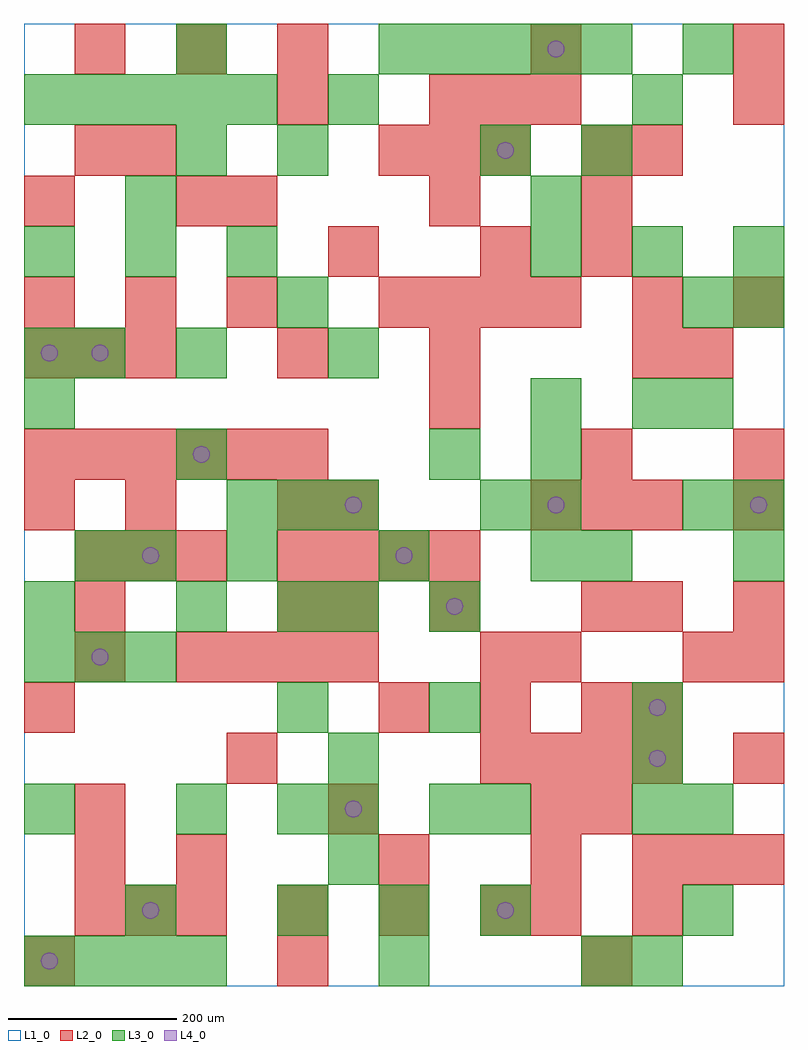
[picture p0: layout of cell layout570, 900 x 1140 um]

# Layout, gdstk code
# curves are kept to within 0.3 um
import gdstk
lib = gdstk.Library(unit=1e-6, precision=1e-09)
def R(c, l, rs):  # rectangles x0, y0, x1, y1
    for r in rs: c.add(gdstk.rectangle(r[:2], r[2:], *l))
def A(c, l, x, y, w, h, nx, ny, dx, dy):  # array of equal rectangles
    R(c, l, [(x+i*dx, y+j*dy, x+i*dx+w, y+j*dy+h) for i in range(nx) for j in range(ny)])
def P(c, l, *ps):  # polygons
    for p in ps: c.add(gdstk.Polygon(p, *l))
L1_0 = (1, 0)
L2_0 = (2, 0)
L3_0 = (3, 0)
L4_0 = (4, 0)

layout570 = lib.new_cell('layout570')
R(layout570, L1_0, [(0,0,900,1140)])
A(layout570, L2_0, 60, 60, 60, 60, 3, 2, 60, 420)
A(layout570, L2_0, 300, 60, 60, 60, 3, 1, 120, 0)
A(layout570, L2_0, 600, 60, 60, 60, 1, 3, 0, 60)
A(layout570, L2_0, 720, 120, 60, 60, 3, 1, 60, 0)
A(layout570, L2_0, 540, 240, 60, 60, 4, 1, 60, 0)
A(layout570, L2_0, 420, 300, 60, 60, 3, 1, 120, 0)
A(layout570, L2_0, 180, 360, 60, 60, 4, 1, 60, 0)
A(layout570, L2_0, 300, 480, 60, 60, 4, 1, 60, 0)
A(layout570, L2_0, 600, 540, 60, 60, 3, 1, 60, 0)
A(layout570, L2_0, 0, 600, 60, 60, 6, 1, 60, 0)
A(layout570, L2_0, 0, 720, 60, 60, 3, 1, 60, 0)
A(layout570, L2_0, 0, 780, 60, 60, 3, 1, 120, 0)
A(layout570, L2_0, 420, 780, 60, 60, 4, 1, 60, 0)
A(layout570, L2_0, 660, 840, 60, 60, 1, 3, 0, 60)
A(layout570, L2_0, 420, 960, 60, 60, 3, 1, 60, 0)
A(layout570, L2_0, 480, 1020, 60, 60, 3, 1, 60, 0)
A(layout570, L2_0, 60, 1080, 60, 60, 3, 1, 120, 0)
R(layout570, L2_0, [(0,0,60,60), (300,0,360,60), (660,0,720,60), (720,60,780,120), (60,120,120,180), (180,120,240,180), (420,120,480,180), (60,180,120,240), (360,180,420,240), (660,180,720,240), (240,240,300,300), (840,240,900,300), (0,300,60,360), (720,300,780,360), (60,360,120,420), (540,360,600,420), (600,360,660,420), (780,360,840,420), (840,360,900,420), (60,420,120,480), (300,420,360,480), (360,420,420,480), (480,420,540,480), (660,420,720,480), (720,420,780,480), (840,420,900,480), (0,540,60,600), (120,540,180,600), (300,540,360,600), (360,540,420,600), (840,540,900,600), (660,600,720,660), (840,600,900,660), (480,660,540,720), (300,720,360,780), (480,720,540,780), (720,720,780,780), (780,720,840,780), (720,780,780,840), (840,780,900,840), (360,840,420,900), (540,840,600,900), (0,900,60,960), (180,900,240,960), (240,900,300,960), (480,900,540,960), (60,960,120,1020), (120,960,180,1020), (720,960,780,1020), (300,1020,360,1080), (840,1020,900,1080), (600,1080,660,1140), (840,1080,900,1140)])
A(layout570, L3_0, 0, 0, 60, 60, 4, 1, 60, 0)
A(layout570, L3_0, 660, 0, 60, 60, 1, 3, 0, 480)
A(layout570, L3_0, 120, 60, 60, 60, 1, 3, 0, 420)
A(layout570, L3_0, 300, 60, 60, 60, 3, 1, 120, 0)
A(layout570, L3_0, 360, 120, 60, 60, 1, 3, 0, 60)
A(layout570, L3_0, 0, 180, 60, 60, 1, 3, 0, 240)
A(layout570, L3_0, 300, 180, 60, 60, 1, 3, 0, 120)
A(layout570, L3_0, 480, 180, 60, 60, 1, 3, 0, 120)
A(layout570, L3_0, 720, 180, 60, 60, 1, 3, 0, 60)
A(layout570, L3_0, 0, 360, 60, 60, 3, 1, 60, 0)
A(layout570, L3_0, 360, 420, 60, 60, 1, 3, 0, 300)
A(layout570, L3_0, 240, 480, 60, 60, 3, 1, 180, 0)
A(layout570, L3_0, 240, 540, 60, 60, 3, 1, 60, 0)
A(layout570, L3_0, 600, 540, 60, 60, 1, 3, 0, 60)
A(layout570, L3_0, 780, 540, 60, 60, 1, 3, 0, 120)
A(layout570, L3_0, 0, 840, 60, 60, 3, 1, 120, 0)
A(layout570, L3_0, 600, 840, 60, 60, 3, 1, 120, 0)
A(layout570, L3_0, 0, 1020, 60, 60, 5, 1, 60, 0)
A(layout570, L3_0, 420, 1080, 60, 60, 5, 1, 60, 0)
R(layout570, L3_0, [(420,0,480,60), (720,0,780,60), (780,60,840,120), (180,180,240,240), (540,180,600,240), (780,180,840,240), (180,420,240,480), (60,480,120,540), (840,480,900,540), (540,540,600,600), (840,540,900,600), (180,600,240,660), (480,600,540,660), (720,660,780,720), (0,720,60,780), (60,720,120,780), (180,720,240,780), (300,780,360,840), (840,780,900,840), (600,900,660,960), (180,960,240,1020), (300,960,360,1020), (540,960,600,1020), (720,1020,780,1080), (180,1080,240,1140), (780,1080,840,1140)])
P(layout570, L4_0, [(40,30),(39.239,33.827),(37.071,37.071),(33.827,39.239),(30,40),(26.173,39.239),(22.929,37.071),(20.761,33.827),(20,30),(20.761,26.173),(22.929,22.929),(26.173,20.761),(30,20),(33.827,20.761),(37.071,22.929),(39.239,26.173)],
  [(40,750),(39.239,753.827),(37.071,757.071),(33.827,759.239),(30,760),(26.173,759.239),(22.929,757.071),(20.761,753.827),(20,750),(20.761,746.173),(22.929,742.929),(26.173,740.761),(30,740),(33.827,740.761),(37.071,742.929),(39.239,746.173)],
  [(100,390),(99.239,393.827),(97.071,397.071),(93.827,399.239),(90,400),(86.173,399.239),(82.929,397.071),(80.761,393.827),(80,390),(80.761,386.173),(82.929,382.929),(86.173,380.761),(90,380),(93.827,380.761),(97.071,382.929),(99.239,386.173)],
  [(100,750),(99.239,753.827),(97.071,757.071),(93.827,759.239),(90,760),(86.173,759.239),(82.929,757.071),(80.761,753.827),(80,750),(80.761,746.173),(82.929,742.929),(86.173,740.761),(90,740),(93.827,740.761),(97.071,742.929),(99.239,746.173)],
  [(160,90),(159.239,93.827),(157.071,97.071),(153.827,99.239),(150,100),(146.173,99.239),(142.929,97.071),(140.761,93.827),(140,90),(140.761,86.173),(142.929,82.929),(146.173,80.761),(150,80),(153.827,80.761),(157.071,82.929),(159.239,86.173)],
  [(160,510),(159.239,513.827),(157.071,517.071),(153.827,519.239),(150,520),(146.173,519.239),(142.929,517.071),(140.761,513.827),(140,510),(140.761,506.173),(142.929,502.929),(146.173,500.761),(150,500),(153.827,500.761),(157.071,502.929),(159.239,506.173)],
  [(220,630),(219.239,633.827),(217.071,637.071),(213.827,639.239),(210,640),(206.173,639.239),(202.929,637.071),(200.761,633.827),(200,630),(200.761,626.173),(202.929,622.929),(206.173,620.761),(210,620),(213.827,620.761),(217.071,622.929),(219.239,626.173)],
  [(400,210),(399.239,213.827),(397.071,217.071),(393.827,219.239),(390,220),(386.173,219.239),(382.929,217.071),(380.761,213.827),(380,210),(380.761,206.173),(382.929,202.929),(386.173,200.761),(390,200),(393.827,200.761),(397.071,202.929),(399.239,206.173)],
  [(400,570),(399.239,573.827),(397.071,577.071),(393.827,579.239),(390,580),(386.173,579.239),(382.929,577.071),(380.761,573.827),(380,570),(380.761,566.173),(382.929,562.929),(386.173,560.761),(390,560),(393.827,560.761),(397.071,562.929),(399.239,566.173)],
  [(460,510),(459.239,513.827),(457.071,517.071),(453.827,519.239),(450,520),(446.173,519.239),(442.929,517.071),(440.761,513.827),(440,510),(440.761,506.173),(442.929,502.929),(446.173,500.761),(450,500),(453.827,500.761),(457.071,502.929),(459.239,506.173)],
  [(520,450),(519.239,453.827),(517.071,457.071),(513.827,459.239),(510,460),(506.173,459.239),(502.929,457.071),(500.761,453.827),(500,450),(500.761,446.173),(502.929,442.929),(506.173,440.761),(510,440),(513.827,440.761),(517.071,442.929),(519.239,446.173)],
  [(580,90),(579.239,93.827),(577.071,97.071),(573.827,99.239),(570,100),(566.173,99.239),(562.929,97.071),(560.761,93.827),(560,90),(560.761,86.173),(562.929,82.929),(566.173,80.761),(570,80),(573.827,80.761),(577.071,82.929),(579.239,86.173)],
  [(580,990),(579.239,993.827),(577.071,997.071),(573.827,999.239),(570,1000),(566.173,999.239),(562.929,997.071),(560.761,993.827),(560,990),(560.761,986.173),(562.929,982.929),(566.173,980.761),(570,980),(573.827,980.761),(577.071,982.929),(579.239,986.173)],
  [(640,570),(639.239,573.827),(637.071,577.071),(633.827,579.239),(630,580),(626.173,579.239),(622.929,577.071),(620.761,573.827),(620,570),(620.761,566.173),(622.929,562.929),(626.173,560.761),(630,560),(633.827,560.761),(637.071,562.929),(639.239,566.173)],
  [(640,1110),(639.239,1113.827),(637.071,1117.071),(633.827,1119.239),(630,1120),(626.173,1119.239),(622.929,1117.071),(620.761,1113.827),(620,1110),(620.761,1106.173),(622.929,1102.929),(626.173,1100.761),(630,1100),(633.827,1100.761),(637.071,1102.929),(639.239,1106.173)],
  [(760,270),(759.239,273.827),(757.071,277.071),(753.827,279.239),(750,280),(746.173,279.239),(742.929,277.071),(740.761,273.827),(740,270),(740.761,266.173),(742.929,262.929),(746.173,260.761),(750,260),(753.827,260.761),(757.071,262.929),(759.239,266.173)],
  [(760,330),(759.239,333.827),(757.071,337.071),(753.827,339.239),(750,340),(746.173,339.239),(742.929,337.071),(740.761,333.827),(740,330),(740.761,326.173),(742.929,322.929),(746.173,320.761),(750,320),(753.827,320.761),(757.071,322.929),(759.239,326.173)],
  [(880,570),(879.239,573.827),(877.071,577.071),(873.827,579.239),(870,580),(866.173,579.239),(862.929,577.071),(860.761,573.827),(860,570),(860.761,566.173),(862.929,562.929),(866.173,560.761),(870,560),(873.827,560.761),(877.071,562.929),(879.239,566.173)])

lib.write_gds('layout570.gds')
